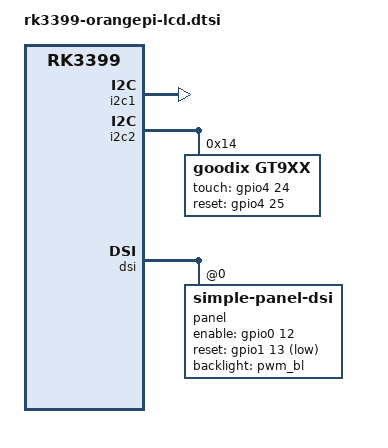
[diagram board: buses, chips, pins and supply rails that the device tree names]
/*
* This program is free software; you can redistribute it and/or
* modify it under the terms of the GNU General Public License
* as published by the Free Software Foundation; either version 2
* of the License, or (at your option) any later version.
*
* This program is distributed in the hope that it will be useful,
* but WITHOUT ANY WARRANTY; without even the implied warranty of
* MERCHANTABILITY or FITNESS FOR A PARTICULAR PURPOSE. See the
* GNU General Public License for more details.
*
* You should have received a copy of the GNU General Public License
* along with this program; if not, you can access it online at
* http://www.gnu.org/licenses/gpl-2.0.html.
*/

&i2c1 {
	status = "okay";
	//TouchScreen Gt9xx 8 inch & 10 inch
	gt9xx_1: gt9xx_1@14 {
                compatible = "goodix,gt9xx";
                reg = <0x14>;
                touch-gpio = <&gpio4 29 IRQ_TYPE_LEVEL_LOW>;
                reset-gpio = <&gpio4 26 GPIO_ACTIVE_HIGH>;
                max-x = <800>;
                max-y = <1280>;
                tp-size = <101>;   // <911> for 8 inch // <101> for 10 inch
        	status = "disable";
	};
};

&i2c2 {
	status = "okay";
	//TouchScreen Gt9xx 8 inch & 10 inch
        gt9xx: gt9xx@14 {
                compatible = "goodix,gt9xx";
                reg = <0x14>;
                touch-gpio = <&gpio4 24 IRQ_TYPE_LEVEL_LOW>;
                reset-gpio = <&gpio4 25 GPIO_ACTIVE_HIGH>;
                max-x = <800>;
                max-y = <1280>;
                tp-size = <911>;   // <911> for 8 inch // <101> for 10 inch
                status = "okay";
        };
};

&dsi {
        status = "okay";
        panel@1 {
                compatible = "simple-panel-dsi";
                reg = <0>;
                backlight = <&pwm_bl>;
                enable-gpios = <&gpio0 12 GPIO_ACTIVE_HIGH>;
                reset-gpios = <&gpio1 13 GPIO_ACTIVE_LOW>;
//              enable-gpios = <&gpio4 30 GPIO_ACTIVE_HIGH>;
//              reset-gpios = <&gpio0 8 GPIO_ACTIVE_LOW>;

                reset-delay-ms = <5>;
                init-delay-ms = <200>;
                prepare-delay-ms = <15>;


                dsi,flags = <(MIPI_DSI_MODE_VIDEO | MIPI_DSI_MODE_VIDEO_BURST | MIPI_DSI_MODE_LPM)>;
                dsi,format = <MIPI_DSI_FMT_RGB888>;
                bus-format = <0x100a>;
                dsi,lanes = <4>;

                panel-init-sequence = [
                        //Page0
                        15 00 02 E0 00
                        //--- PASSWORD  ----//
                        15 00 02 E1 93
                        15 00 02 E2 65
                        15 00 02 E3 F8

                        //Page0
                        15 00 02 E0 00
                        //--- Sequence Ctrl  ----//
                        15 00 02 70 10
                        15 00 02 71 13
                        15 00 02 72 06
                        15 00 02 80 03

                        //--- Page4  ----//
                        15 00 02 E0 04
                        15 00 02 2D 03

                        //--- Page1  ----//
                        15 00 02 E0 01

                        //Set VCOM
                        15 00 02 00 00
                        15 00 02 01 A0
                        //Set VCOM_Reverse
                        15 00 02 03 00
                        15 00 02 04 A0

                        //Set Gamma Power, VGMP,VGMN,VGSP,VGSN
                        15 00 02 17 00
                        15 00 02 18 B1
                        15 00 02 19 01
                        15 00 02 1A 00
                        15 00 02 1B B1
                        15 00 02 1C 01

                        //Set Gate Power
                        15 00 02 1F 3E
                        15 00 02 20 2D
                        15 00 02 21 2D
                        15 00 02 22 2E

                        //SETPANEL
                        15 00 02 37 19

                        //SET RGBCYC
                        15 00 02 38 05
                        15 00 02 39 08
                        15 00 02 3A 12
                        15 00 02 3C 78
                        15 00 02 3E 80
                        15 00 02 3F 80

                        //Set TCON
                        15 00 02 40 06
                        15 00 02 41 A0

                        //--- power voltage  ----//
                        15 00 02 55 01
                        15 00 02 56 01
                        15 00 02 57 69
                        15 00 02 58 0A
                        15 00 02 59 0A
                        15 00 02 5A 28
                        15 00 02 5B 19

                        //--- Gamma  ----//
                        15 00 02 5D 7C
                        15 00 02 5E 65
                        15 00 02 5F 53
                        15 00 02 60 48
                        15 00 02 61 43
                        15 00 02 62 35
                        15 00 02 63 39
                        15 00 02 64 23
                        15 00 02 65 3D
                        15 00 02 66 3C
                        15 00 02 67 3D
                        15 00 02 68 5A
                        15 00 02 69 46
                        15 00 02 6A 57
                        15 00 02 6B 4B
                        15 00 02 6C 49
                        15 00 02 6D 2F
                        15 00 02 6E 03
                        15 00 02 6F 00
                        15 00 02 70 7C
                        15 00 02 71 65
                        15 00 02 72 53
                        15 00 02 73 48
                        15 00 02 74 43
                        15 00 02 75 35
                        15 00 02 76 39
                        15 00 02 77 23
                        15 00 02 78 3D
                        15 00 02 79 3C
                        15 00 02 7A 3D
                        15 00 02 7B 5A
                        15 00 02 7C 46
                        15 00 02 7D 57
                        15 00 02 7E 4B
                        15 00 02 7F 49
                        15 00 02 80 2F
                        15 00 02 81 03
                        15 00 02 82 00

                        //Page2, for GIP
                        15 00 02 E0 02

                        //GIP_L Pin mapping
                        15 00 02 00 47
                        15 00 02 01 47
                        15 00 02 02 45
                        15 00 02 03 45
                        15 00 02 04 4B
                        15 00 02 05 4B
                        15 00 02 06 49
                        15 00 02 07 49
                        15 00 02 08 41
                        15 00 02 09 1F
                        15 00 02 0A 1F
                        15 00 02 0B 1F
                        15 00 02 0C 1F
                        15 00 02 0D 1F
                        15 00 02 0E 1F
                        15 00 02 0F 43
                        15 00 02 10 1F
                        15 00 02 11 1F
                        15 00 02 12 1F
                        15 00 02 13 1F
                        15 00 02 14 1F
                        15 00 02 15 1F

                        //GIP_R Pin mapping
                        15 00 02 16 46
                        15 00 02 17 46
                        15 00 02 18 44
                        15 00 02 19 44
                        15 00 02 1A 4A
                        15 00 02 1B 4A
                        15 00 02 1C 48
                        15 00 02 1D 48
                        15 00 02 1E 40
                        15 00 02 1F 1F
                        15 00 02 20 1F
                        15 00 02 21 1F
                        15 00 02 22 1F
                        15 00 02 23 1F
                        15 00 02 24 1F
                        15 00 02 25 42
                        15 00 02 26 1F
                        15 00 02 27 1F
                        15 00 02 28 1F
                        15 00 02 29 1F
                        15 00 02 2A 1F
                        15 00 02 2B 1F

                        //GIP_L_GS Pin mapping
                        15 00 02 2C 11
                        15 00 02 2D 0F
                        15 00 02 2E 0D
                        15 00 02 2F 0B
                        15 00 02 30 09
                        15 00 02 31 07
                        15 00 02 32 05
                        15 00 02 33 18
                        15 00 02 34 17
                        15 00 02 35 1F
                        15 00 02 36 01
                        15 00 02 37 1F
                        15 00 02 38 1F
                        15 00 02 39 1F
                        15 00 02 3A 1F
                        15 00 02 3B 1F
                        15 00 02 3C 1F
                        15 00 02 3D 1F
                        15 00 02 3E 1F
                        15 00 02 3F 13
                        15 00 02 40 1F
                        15 00 02 41 1F

                        //GIP_R_GS Pin mapping
                        15 00 02 42 10
                        15 00 02 43 0E
                        15 00 02 44 0C
                        15 00 02 45 0A
                        15 00 02 46 08
                        15 00 02 47 06
                        15 00 02 48 04
                        15 00 02 49 18
                        15 00 02 4A 17
                        15 00 02 4B 1F
                        15 00 02 4C 00
                        15 00 02 4D 1F
                        15 00 02 4E 1F
                        15 00 02 4F 1F
                        15 00 02 50 1F
                        15 00 02 51 1F
                        15 00 02 52 1F
                        15 00 02 53 1F
                        15 00 02 54 1F
                        15 00 02 55 12
                        15 00 02 56 1F
                        15 00 02 57 1F

                        //GIP Timing
                        15 00 02 58 40
                        15 00 02 59 00
                        15 00 02 5A 00
                        15 00 02 5B 30
                        15 00 02 5C 03
                        15 00 02 5D 30
                        15 00 02 5E 01
                        15 00 02 5F 02
                        15 00 02 60 00
                        15 00 02 61 01
                        15 00 02 62 02
                        15 00 02 63 03
                        15 00 02 64 6B
                        15 00 02 65 00
                        15 00 02 66 00
                        15 00 02 67 73
                        15 00 02 68 05
                        15 00 02 69 06
                        15 00 02 6A 6B
                        15 00 02 6B 08
                        15 00 02 6C 00
                        15 00 02 6D 04
                        15 00 02 6E 04
                        15 00 02 6F 88
                        15 00 02 70 00
                        15 00 02 71 00
                        15 00 02 72 06
                        15 00 02 73 7B
                        15 00 02 74 00
                        15 00 02 75 07
                        15 00 02 76 00
                        15 00 02 77 5D
                        15 00 02 78 17
                        15 00 02 79 1F
                        15 00 02 7A 00
                        15 00 02 7B 00
                        15 00 02 7C 00
                        15 00 02 7D 03
                        15 00 02 7E 7B

                        //Page1
                        15 00 02 E0 01
                        15 00 02 0E 01 //LEDON output VCSW2

                        //Page3
                        15 00 02 E0 03
                        15 00 02 98 2F //From 2E to 2F, LED_VOL

                        //Page4
                        15 00 02 E0 04
                        15 00 02 09 10
                        15 00 02 2B 2B
                        15 00 02 2E 44

                        //Page0
                        15 00 02 E0 00
                        15 00 02 E6 02
                        15 00 02 E7 02

                        //SLP OUT
                        05 78 01 11
                        //DISP ON
                        05 05 01 29
                        //--- TE----//
                        15 00 02 35 00
                ];

                panel-exit-sequence = [
                        05 05 01 28
                        05 78 01 10
                ];
                display-timings {
                        native-mode = <&timing1>;

                        timing1: timing1 {
                                clock-frequency = <68430000>;
                                screen-type = <7>;
                                out-face    = <0>;
                                hactive = <800>;
                                vactive = <1280>;
                                hback-porch = <48>;
                                hfront-porch = <32>;
                                vback-porch = <4>;
                                vfront-porch = <12>;
                                hsync-len = <16>;
                                vsync-len = <4>;
                                hsync-active = <0>;
                                vsync-active = <0>;
                                de-active = <0>;
                                pixelclk-active = <0>;
                                swap-rb = <0>;
                                swap-rg = <0>;
                                swap-gb = <0>;
                        };
                };
        };
};

&dsi1 {
        status = "disable";
//      rockchip,dual-channel = <&dsi>;
        panel@1 {
                compatible = "simple-panel-dsi";
                reg = <0>;
                backlight = <&pwm_bl>;

                enable-gpios = <&gpio4 30 GPIO_ACTIVE_HIGH>;
                reset-gpios = <&gpio0 8 GPIO_ACTIVE_LOW>;

                reset-delay-ms = <5>;
                init-delay-ms = <200>;
                prepare-delay-ms = <15>;


                dsi,flags = <(MIPI_DSI_MODE_VIDEO | MIPI_DSI_MODE_VIDEO_BURST | MIPI_DSI_MODE_LPM)>;
                dsi,format = <MIPI_DSI_FMT_RGB888>;
                bus-format = <0x100a>;
                dsi,lanes = <4>;

                panel-init-sequence = [
                        39 00 06 f0 55 aa 52 08 00
                        39 00 03 b1 68 01
                        15 00 02 b6 08
                        39 00 04 b8 01 02 08
                        39 00 03 bb 44 44
                        39 00 03 bc 00 00
                        39 00 06 bd 02 68 10 10 00
                        15 00 02 c8 80
                        39 00 06 f0 55 aa 52 08 01
                        39 00 03 b3 4f 4f
                        39 00 03 b4 10 10
                        39 00 03 b5 05 05
                        39 00 03 b9 35 35
                        39 00 04 ba ba 25 25
                        39 00 03 bc 68 00
                        39 00 03 bd 68 00
                        15 00 02 be 30
                        15 00 02 c0 0c
                        15 00 02 ca 00
                        39 00 06 f0 55 aa 52 08 02
                        15 00 02 ee 01
                        39 00 11 b0 00 00 00 0f 00 2a 00 40 00 54 00 76 00 93 00 c5
                        39 00 11 b1 00 f0 01 32 01 66 01 bb 01 ff 02 01 02 42 02 85
                        39 00 11 b2 02 af 02 e0 03 05 03 35 03 54 03 84 03 a0 03 c4
                        39 00 05 b3 03 f2 03 ff
                        39 00 06 f0 55 aa 52 08 03
                        39 00 03 b0 00 00
                        39 00 03 b1 00 00
                        39 00 06 b2 08 00 17 00 00
                        39 00 06 b6 05 00 00 00 00
                        39 00 06 ba 53 00 a0 00 00
                        39 00 06 bb 53 00 a0 00 00
                        39 00 05 c0 00 00 00 00
                        39 00 05 c1 00 00 00 00
                        15 00 02 c4 60
                        15 00 02 c5 c0
                        39 00 06 f0 55 aa 52 08 05
                        39 00 03 b0 17 06
                        39 00 03 b1 17 06
                        39 00 03 b2 17 06
                        39 00 03 b3 17 06
                        39 00 03 b4 17 06
                        39 00 03 b5 17 06
                        15 00 02 b8 0c
                        15 00 02 b9 00
                        15 00 02 ba 00
                        15 00 02 bb 0a
                        15 00 02 bc 02
                        39 00 06 bd 03 01 01 03 03
                        15 00 02 c0 07
                        15 00 02 c4 a2
                        39 00 03 c8 03 20
                        39 00 03 c9 01 21
                        39 00 04 cc 00 00 01
                        39 00 04 cd 00 00 01
                        39 00 06 d1 00 04 fc 07 14
                        39 00 06 d2 10 05 00 03 16
                        15 00 02 e5 06
                        15 00 02 e6 06
                        15 00 02 e7 06
                        15 00 02 e8 06
                        15 00 02 e9 06
                        15 00 02 ea 06
                        15 00 02 ed 30
                        39 00 06 f0 55 aa 52 08 06
                        39 00 03 b0 17 11
                        39 00 03 b1 16 10
                        39 00 03 b2 12 18
                        39 00 03 b3 13 19
                        39 00 03 b4 00 31
                        39 00 03 b5 31 34
                        39 00 03 b6 34 29
                        39 00 03 b7 2a 33 
                        39 00 03 b8 2e 2d
                        39 00 03 b9 08 34
                        39 00 03 ba 34 08
                        39 00 03 bb 2d 2e
                        39 00 03 bc 34 2a
                        39 00 03 bd 29 34
                        39 00 03 be 13 03
                        39 00 03 bf 31 00
                        39 00 03 c0 19 13
                        39 00 03 c1 18 12
                        39 00 03 c2 10 16
                        39 00 03 c3 11 17
                        39 00 03 e5 34 34
                        39 00 03 c4 12 18
                        39 00 03 c5 13 19
                        39 00 03 c6 17 11
                        39 00 03 c7 16 10
                        39 00 03 c8 08 31
                        39 00 03 c9 31 34
                        39 00 03 ca 34 29
                        39 00 03 cb 2a 33
                        39 00 03 cc 2d 2e
                        39 00 03 cd 00 34
                        39 00 03 ce 34 00
                        39 00 03 cf 2e 2d
                        39 00 03 d0 34 2a
                        39 00 03 d1 29 2a
                        39 00 03 d2 34 31
                        39 00 03 d3 31 08
                        39 00 03 d4 10 16
                        39 00 03 d5 11 17
                        39 00 03 d6 19 13
                        39 00 03 d7 18 12
                        39 00 03 e6 34 34
                        39 00 06 d8 00 00 00 00 00
                        39 00 06 d9 00 00 00 00 00
                        15 00 02 e7 00
                        05 78 01 11
                        05 14 01 29
                        15 00 02 35 00
                        39 14 06 f0 55 aa 52 08 01
                ];

                panel-exit-sequence = [
                        05 00 01 28
                        05 78 01 10
                ];
                display-timings {
                        native-mode = <&timing0>;

                        timing0: timing0 {
                                clock-frequency = <66000000>;
                                screen-type = <7>;
                                out-face    = <0>;
                                hactive = <800>;
                                vactive = <1280>;
                                hback-porch = <59>;
                                hfront-porch = <16>;
                                vback-porch = <3>;
                                vfront-porch = <8>;
                                hsync-len = <5>;
                                vsync-len = <5>;
                                hsync-active = <0>;
                                vsync-active = <0>;
                                de-active = <0>;
                                pixelclk-active = <0>;
                                swap-rb = <0>;
                                swap-rg = <0>;
                                swap-gb = <0>;
                        };
                };
        };
};

